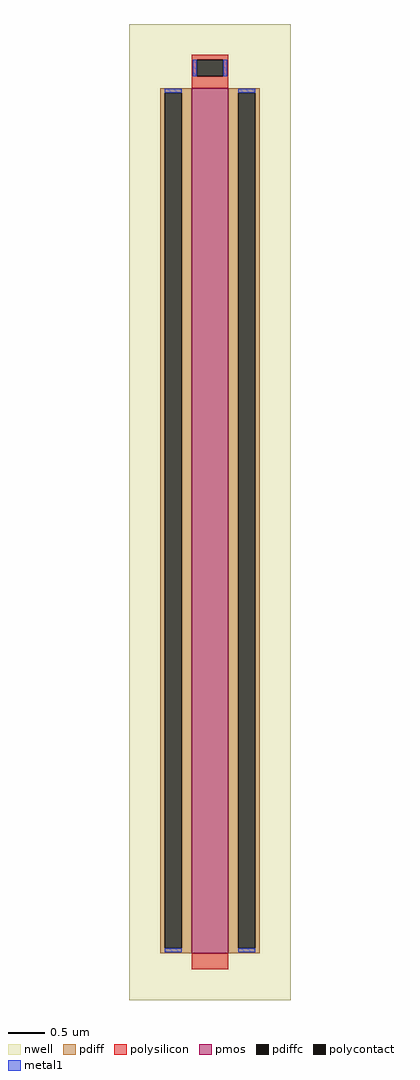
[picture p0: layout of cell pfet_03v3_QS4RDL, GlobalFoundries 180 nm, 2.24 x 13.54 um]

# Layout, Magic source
magic
tech gf180mcuD
magscale 1 10
<< nwell >>
rect -224 -1354 224 1354
<< pmos >>
rect -50 -1224 50 1176
<< pdiff >>
rect -138 1163 -50 1176
rect -138 -1211 -125 1163
rect -79 -1211 -50 1163
rect -138 -1224 -50 -1211
rect 50 1163 138 1176
rect 50 -1211 79 1163
rect 125 -1211 138 1163
rect 50 -1224 138 -1211
<< pdiffc >>
rect -125 -1211 -79 1163
rect 79 -1211 125 1163
<< polysilicon >>
rect -50 1255 50 1268
rect -50 1209 -37 1255
rect 37 1209 50 1255
rect -50 1176 50 1209
rect -50 -1268 50 -1224
<< polycontact >>
rect -37 1209 37 1255
<< metal1 >>
rect -48 1209 -37 1255
rect 37 1209 48 1255
rect -125 1163 -79 1174
rect -125 -1222 -79 -1211
rect 79 1163 125 1174
rect 79 -1222 125 -1211
<< properties >>
string gencell pfet_03v3
string library gf180mcu
string parameters w 12 l 0.5 m 1 nf 1 diffcov 100 polycov 100 guard 0 glc 0 grc 0 gtc 0 gbc 0 tbcov 100 rlcov 100 topc 1 botc 0 poverlap 0 doverlap 1 lmin 0.28 wmin 0.22 class mosfet full_metal 0 compatible {pfet_03v3 pfet_05v0 pfet_06v0}
<< end >>
